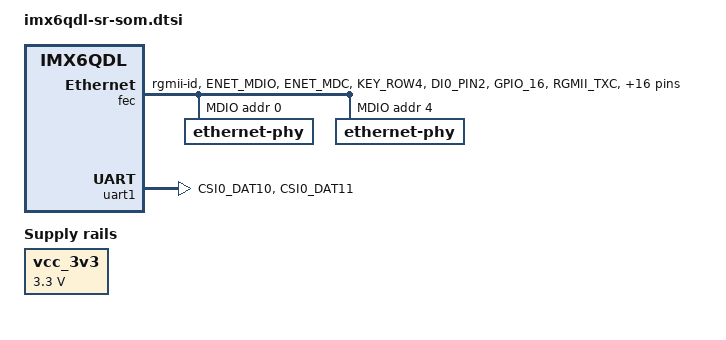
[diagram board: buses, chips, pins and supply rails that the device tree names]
/*
 * Copyright (C) 2013,2014 Russell King
 *
 * This file is dual-licensed: you can use it either under the terms
 * of the GPL or the X11 license, at your option. Note that this dual
 * licensing only applies to this file, and not this project as a
 * whole.
 *
 *  a) This file is free software; you can redistribute it and/or
 *     modify it under the terms of the GNU General Public License
 *     version 2 as published by the Free Software Foundation.
 *
 *     This file is distributed in the hope that it will be useful,
 *     but WITHOUT ANY WARRANTY; without even the implied warranty of
 *     MERCHANTABILITY or FITNESS FOR A PARTICULAR PURPOSE.  See the
 *     GNU General Public License for more details.
 *
 * Or, alternatively,
 *
 *  b) Permission is hereby granted, free of charge, to any person
 *     obtaining a copy of this software and associated documentation
 *     files (the "Software"), to deal in the Software without
 *     restriction, including without limitation the rights to use,
 *     copy, modify, merge, publish, distribute, sublicense, and/or
 *     sell copies of the Software, and to permit persons to whom the
 *     Software is furnished to do so, subject to the following
 *     conditions:
 *
 *     The above copyright notice and this permission notice shall be
 *     included in all copies or substantial portions of the Software.
 *
 *     THE SOFTWARE IS PROVIDED "AS IS", WITHOUT WARRANTY OF ANY KIND,
 *     EXPRESS OR IMPLIED, INCLUDING BUT NOT LIMITED TO THE WARRANTIES
 *     OF MERCHANTABILITY, FITNESS FOR A PARTICULAR PURPOSE AND
 *     NONINFRINGEMENT. IN NO EVENT SHALL THE AUTHORS OR COPYRIGHT
 *     HOLDERS BE LIABLE FOR ANY CLAIM, DAMAGES OR OTHER LIABILITY,
 *     WHETHER IN AN ACTION OF CONTRACT, TORT OR OTHERWISE, ARISING
 *     FROM, OUT OF OR IN CONNECTION WITH THE SOFTWARE OR THE USE OR
 *     OTHER DEALINGS IN THE SOFTWARE.
 */
#include <dt-bindings/gpio/gpio.h>

/ {
	vcc_3v3: regulator-vcc-3v3 {
		compatible = "regulator-fixed";
		regulator-always-on;
		regulator-name = "vcc_3v3";
		regulator-min-microvolt = <3300000>;
		regulator-max-microvolt = <3300000>;
	};
};

&fec {
	pinctrl-names = "default";
	pinctrl-0 = <&pinctrl_microsom_enet_ar8035>;
	phy-mode = "rgmii-id";

	/*
	 * The PHY seems to require a long-enough reset duration to avoid
	 * some rare issues where the PHY gets stuck in an inconsistent and
	 * non-functional state at boot-up. 10ms proved to be fine .
	 */
	phy-reset-duration = <10>;
	phy-reset-gpios = <&gpio4 15 GPIO_ACTIVE_LOW>;
	status = "okay";

	mdio {
		#address-cells = <1>;
		#size-cells = <0>;

		/*
		 * The PHY can appear at either address 0 or 4 due to the
		 * configuration (LED) pin not being pulled sufficiently.
		 */
		ethernet-phy@0 {
			reg = <0>;
			qca,clk-out-frequency = <125000000>;
			qca,smarteee-tw-us-1g = <24>;
		};

		ethernet-phy@4 {
			reg = <4>;
			qca,clk-out-frequency = <125000000>;
			qca,smarteee-tw-us-1g = <24>;
		};

		/*
		 * ADIN1300 (som rev 1.9 or later) is always at address 1. It
		 * will be enabled automatically by U-Boot if detected.
		 */
		ethernet-phy@1 {
			reg = <1>;
			adi,phy-output-clock = "125mhz-free-running";
			status = "disabled";
		};
	};
};

&iomuxc {
	pinctrl_microsom_enet_ar8035: microsom-enet-ar8035grp {
		fsl,pins = <
			MX6QDL_PAD_ENET_MDIO__ENET_MDIO		0x1b8b0
			MX6QDL_PAD_ENET_MDC__ENET_MDC		0x1b0b0
			/* AR8035 reset */
			MX6QDL_PAD_KEY_ROW4__GPIO4_IO15		0x130b0
			/* AR8035 interrupt */
			MX6QDL_PAD_DI0_PIN2__GPIO4_IO18		0x1b0b0
			/* GPIO16 -> AR8035 25MHz */
			MX6QDL_PAD_GPIO_16__ENET_REF_CLK	0x4001b0b0
			MX6QDL_PAD_RGMII_TXC__RGMII_TXC		0x13030
			MX6QDL_PAD_RGMII_TD0__RGMII_TD0		0x1b030
			MX6QDL_PAD_RGMII_TD1__RGMII_TD1		0x1b030
			MX6QDL_PAD_RGMII_TD2__RGMII_TD2		0x1b030
			MX6QDL_PAD_RGMII_TD3__RGMII_TD3		0x1b030
			MX6QDL_PAD_RGMII_TX_CTL__RGMII_TX_CTL	0x1b030
			/* AR8035 CLK_25M --> ENET_REF_CLK (V22) */
			MX6QDL_PAD_ENET_REF_CLK__ENET_TX_CLK	0x0a0b1
			/* AR8035 pin strapping: IO voltage: pull up */
			MX6QDL_PAD_RGMII_RXC__RGMII_RXC		0x1b030
			/* AR8035 pin strapping: PHYADDR#0: pull down */
			MX6QDL_PAD_RGMII_RD0__RGMII_RD0		0x13030
			/* AR8035 pin strapping: PHYADDR#1: pull down */
			MX6QDL_PAD_RGMII_RD1__RGMII_RD1		0x13030
			/* AR8035 pin strapping: MODE#1: pull up */
			MX6QDL_PAD_RGMII_RD2__RGMII_RD2		0x1b030
			/* AR8035 pin strapping: MODE#3: pull up */
			MX6QDL_PAD_RGMII_RD3__RGMII_RD3		0x1b030
			/* AR8035 pin strapping: MODE#0: pull down */
			MX6QDL_PAD_RGMII_RX_CTL__RGMII_RX_CTL	0x13030

			/*
			 * As the RMII pins are also connected to RGMII
			 * so that an AR8030 can be placed, set these
			 * to high-z with the same pulls as above.
			 * Use the GPIO settings to avoid changing the
			 * input select registers.
			 */
			MX6QDL_PAD_ENET_CRS_DV__GPIO1_IO25	0x03000
			MX6QDL_PAD_ENET_RXD0__GPIO1_IO27	0x03000
			MX6QDL_PAD_ENET_RXD1__GPIO1_IO26	0x03000
		>;
	};

	pinctrl_microsom_uart1: microsom-uart1grp {
		fsl,pins = <
			MX6QDL_PAD_CSI0_DAT10__UART1_TX_DATA	0x1b0b1
			MX6QDL_PAD_CSI0_DAT11__UART1_RX_DATA	0x1b0b1
		>;
	};
};

&uart1 {
	pinctrl-names = "default";
	pinctrl-0 = <&pinctrl_microsom_uart1>;
	status = "okay";
};
